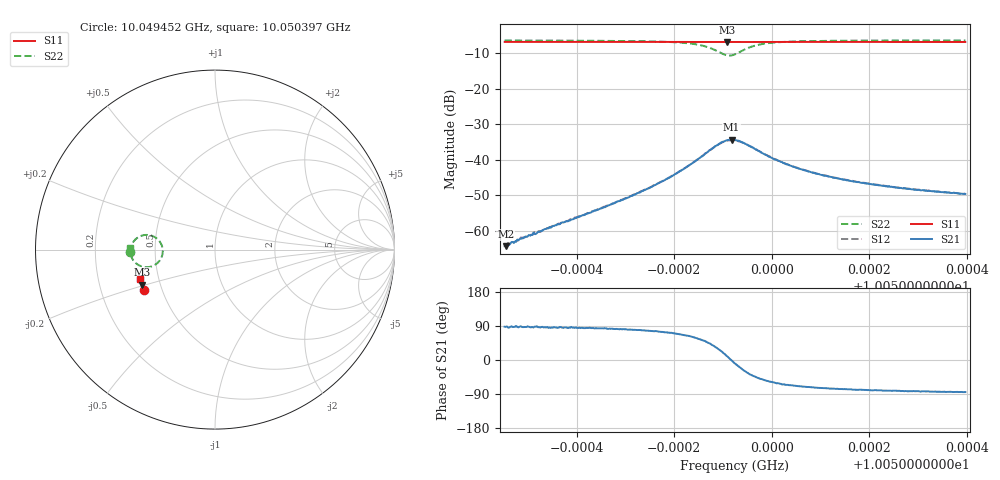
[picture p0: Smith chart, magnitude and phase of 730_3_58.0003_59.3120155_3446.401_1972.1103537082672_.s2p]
#  HZ  S  RI  R  50.00
! Rohde & Schwarz Vector Network Analyzer
! Rohde-Schwarz,ZNB20-2Port,1311601062101988,3.16
! Created: UTC 3/21/2024, 1:23:03 AM
! freq[Hz]  re:S11  im:S11  re:S21  im:S21  re:S12  im:S12  re:S22  im:S22
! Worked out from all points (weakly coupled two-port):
!   401 points, 10.049452 GHz to 10.050397 GHz, reference 50 ohm
!   highest |S21| = -34.36 dB at 10.049918 GHz (marker M1); lowest = -64.3 dB at 10.049454 GHz (marker M2)
!   lowest |S11| = -6.9 dB at 10.049908 GHz (marker M3), VSWR 2.64, Z = 19.7 - j9.65 ohm
!   |S11| at or under -10 dB: nowhere
!   |S22| runs from -10.7 to -6.5 dB; largest |S21 - S12| = 0.0013
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1.0049452e10  -0.3957 -0.2224  2.28e-05 0.000612  -1.38e-05 0.00063  -0.474 -0.0151
1.00494544e10  -0.3957 -0.2222  2.88e-05 0.000611  -2e-05 0.000637  -0.4738 -0.0147
1.00494662e10  -0.3961 -0.2215  1.58e-05 0.000699  -2.6e-05 0.000678  -0.4736 -0.0135
1.00494969e10  -0.397 -0.2196  4.13e-05 0.00083  -1.28e-05 0.000838  -0.4734 -0.0102
1.00495182e10  -0.3976 -0.2185  1.57e-05 0.000935  -3.33e-05 0.000975  -0.4732 -0.00759
1.004953e10  -0.3981 -0.2178  4.48e-05 0.00102  5.79e-06 0.00103  -0.4729 -0.00611
1.00496103e10  -0.4005 -0.2129  0.000137 0.00164  7.21e-05 0.00167  -0.4712 0.00498
1.00497025e10  -0.4031 -0.2074  0.000472 0.00287  0.000292 0.00291  -0.4661 0.0225
1.00497686e10  -0.4049 -0.2034  0.00124 0.00456  0.000989 0.00464  -0.456 0.042
1.00498088e10  -0.406 -0.2007  0.00248 0.00626  0.00215 0.00642  -0.4413 0.0588
1.00498513e10  -0.4069 -0.1978  0.00599 0.00865  0.00553 0.00892  -0.4032 0.0792
1.00498821e10  -0.4069 -0.1959  0.0121 0.00895  0.0117 0.00958  -0.3441 0.0741
1.00499081e10  -0.4068 -0.1947  0.0185 0.00336  0.018 0.00432  -0.2934 0.0127
1.00499175e10  -0.4069 -0.1946  0.0191 -0.000315  0.0188 0.000889  -0.292 -0.0219
1.00499246e10  -0.4071 -0.1944  0.0188 -0.00311  0.0187 -0.00184  -0.2996 -0.0465
1.00499482e10  -0.4081 -0.1937  0.0139 -0.00882  0.0145 -0.0078  -0.3529 -0.0935
1.00499813e10  -0.4097 -0.1919  0.00771 -0.00966  0.00828 -0.00917  -0.4142 -0.0918
1.00500262e10  -0.4113 -0.1892  0.00386 -0.00809  0.00434 -0.0078  -0.4491 -0.0675
1.00500829e10  -0.4131 -0.1856  0.00203 -0.00629  0.00239 -0.00623  -0.4641 -0.0446
1.00501633e10  -0.4151 -0.1806  0.00106 -0.00491  0.00139 -0.00487  -0.4712 -0.0244
1.00502412e10  -0.417 -0.1757  0.00068 -0.00418  0.000937 -0.00414  -0.4735 -0.0112
1.00503972e10  -0.4206 -0.1662  0.000309 -0.0033  0.000522 -0.00327  -0.475 0.0077
